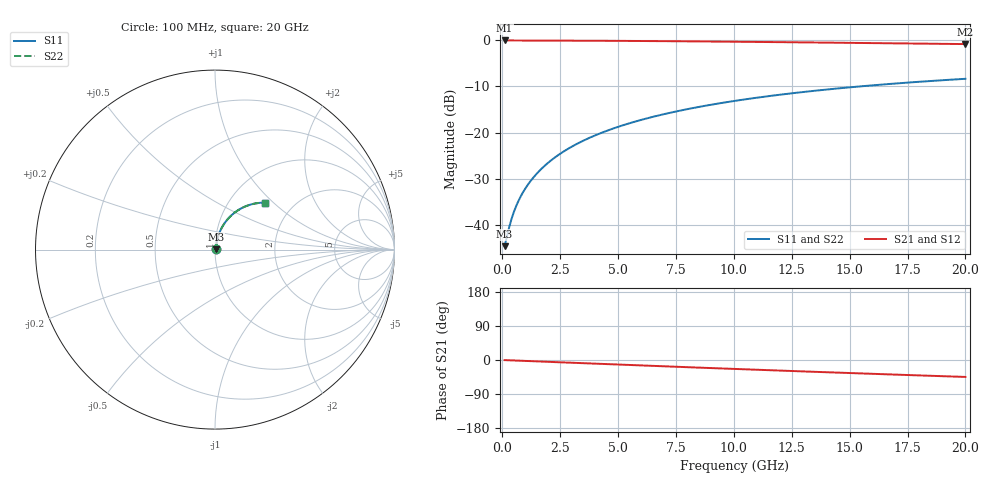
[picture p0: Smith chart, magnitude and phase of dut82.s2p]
! Touchstone file exported from HFSS 2026.1.0
!  File:  C:/ffzhzh/LocalFiles/Ansys_Project_Files/temp_train_TMRDL_82_1782881406_46784.aedt
!  Generated:  12:51:18 PM Jul  1, 2026
!  Design:  TMRDL
!  Project:  temp_train_TMRDL_82_1782881406_46784
! Variables:
!  h_bsmrdl = 2um
!  h_ox = 20um
!  h_rdl = 5um
!  h_sub = 80um
!  h_tmrdl = 2.92um
!  h_tsv = 80um
!  h_via = 3um
!  l_bsmrdl = 300um
!  l_sub = 1084.24um
!  l_tmrdl = 684.24um
!  m_sub = 200um
!  pitch = 34.24um
!  r_tsv = 6um
!  s_tmrdl = 10um
!  w_bsmrdl = 18um
!  w_sub = 500um
!  w_tmrdl = 16.08um
!  x_tsv_center1 = 692.28um
!  x_tsv_center2 = 1010.28um
!  x_tsv_center3 = 1710.6um
!  x_tsv_center4 = 2028.6um
!  x_tsv_center5 = 2728.92um
!  x_tsv_center6 = 3046.92um
# GHz S MA R 50.000000
! Terminal data exported
! Port[1] = TM_RDL1_1_T1
! Port[2] = TM_RDL1_1_T2
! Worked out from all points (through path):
!   200 points, 100 MHz to 20 GHz, reference 50 ohm
!   highest |S21| = -0.05 dB at 100 MHz (marker M1); lowest = -0.8 dB at 20 GHz (marker M2)
!   group delay of S21, straight-line fit = 6.21 ps
!   lowest |S11| = -44.6 dB at 100 MHz (marker M3), VSWR 1.01, Z = 50.5 + j0.262 ohm
!   |S11| at or under -10 dB: start of sweep to 15.44 GHz
!   |S22| runs from -44.6 to -8.3 dB; largest |S21 - S12| = 4.2e-15
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0.1  0.005899 26.1  0.9947 -0.3  0.9947 -0.3  0.005899 26.1
! Gamma 0 0 0 0
! Port Impedance 50 0 50 0
0.3  0.009506 53.2  0.9944 -0.8  0.9944 -0.8  0.009506 53.2
0.4  0.01166 59.3  0.9942 -1.0  0.9942 -1.0  0.01166 59.3
0.5  0.01385 63.3  0.994 -1.3  0.994 -1.3  0.01385 63.3
0.6  0.01606 66.2  0.9938 -1.5  0.9938 -1.5  0.01606 66.2
0.7  0.01828 68.4  0.9936 -1.7  0.9936 -1.7  0.01828 68.4
0.9  0.02273 71.4  0.9933 -2.2  0.9933 -2.2  0.02273 71.4
1.2  0.02946 74.1  0.993 -2.9  0.993 -2.9  0.02946 74.0
1.4  0.03399 75.1  0.9927 -3.4  0.9927 -3.4  0.03399 75.1
1.7  0.0408 76.2  0.9923 -4.1  0.9923 -4.1  0.0408 76.2
2.2  0.05221 76.9  0.9916 -5.3  0.9916 -5.3  0.05221 76.9
2.8  0.06592 76.9  0.9906 -6.8  0.9906 -6.8  0.06592 76.9
3.5  0.08184 76.2  0.9891 -8.4  0.9891 -8.4  0.08184 76.2
4.2  0.09763 75.2  0.9873 -10.1  0.9873 -10.1  0.09763 75.2
5  0.1155 73.8  0.985 -12.0  0.985 -12.0  0.1155 73.8
5.9  0.1352 72.1  0.982 -14.1  0.982 -14.1  0.1352 72.1
6.8  0.1546 70.3  0.9786 -16.2  0.9786 -16.2  0.1546 70.3
8.3  0.1859 67.1  0.9722 -19.7  0.9722 -19.7  0.1859 67.1
10.1  0.2218 63.3  0.9637 -23.8  0.9637 -23.8  0.2218 63.3
13.4  0.2823 56.4  0.9462 -31.0  0.9462 -31.0  0.2823 56.3
16.7  0.3359 49.6  0.9275 -38.0  0.9275 -38.0  0.3359 49.6
20  0.3824 43.1  0.9088 -44.7  0.9088 -44.7  0.3824 43.1
